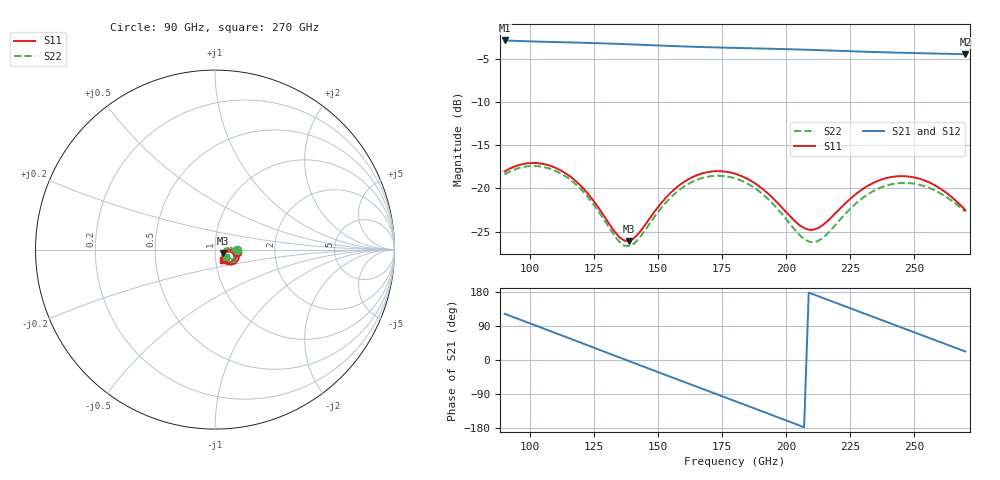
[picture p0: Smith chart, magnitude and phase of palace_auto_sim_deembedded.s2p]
! Created with skrf 1.11.0 (http://scikit-rf.org).
# GHz S DB R 50.0
!freq dBS11 angS11 dBS21 angS21 dBS12 angS12 dBS22 angS22
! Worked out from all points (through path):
!   101 points, 90 GHz to 270 GHz, reference 50 ohm
!   highest |S21| = -2.89 dB at 90 GHz (marker M1); lowest = -4.5 dB at 270 GHz (marker M2)
!   group delay of S21, straight-line fit = 7.09 ps
!   lowest |S11| = -26.1 dB at 138.6 GHz (marker M3), VSWR 1.10, Z = 54.8 - j2.07 ohm
!   |S11| at or under -10 dB: start of sweep to end of sweep
!   |S22| runs from -26.7 to -17.4 dB; largest |S21 - S12| = 7.9e-14
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90  -18.04 -5.9  -2.89 121.9  -2.89 121.9  -18.38 -2.3
97.2  -17.18 -16.8  -2.96 103.5  -2.96 103.5  -17.52 -13.0
104.4  -17.13 -28.5  -3.03 85.2  -3.03 85.2  -17.48 -24.4
111.6  -17.86 -39.7  -3.08 66.7  -3.08 66.7  -18.22 -35.3
120.6  -19.96 -50.5  -3.15 43.6  -3.15 43.6  -20.34 -45.8
129.6  -23.53 -50.1  -3.23 20.3  -3.23 20.3  -23.97 -45.5
135  -25.69 -36.8  -3.29 6.4  -3.29 6.4  -26.22 -32.0
138.6  -26.08 -22.3  -3.33 -2.9  -3.33 -2.9  -26.68 -17.0
151.2  -21.69 1.2  -3.48 -35.1  -3.48 -35.1  -22.26 8.2
165.6  -18.42 -12.7  -3.63 -71.8  -3.63 -71.8  -18.95 -5.3
172.8  -18.00 -23.2  -3.69 -90.1  -3.69 -90.1  -18.53 -15.5
180  -18.30 -33.5  -3.75 -108.4  -3.75 -108.4  -18.83 -25.8
187.2  -19.29 -42.4  -3.80 -126.8  -3.80 -126.8  -19.86 -34.8
196.2  -21.54 -47.9  -3.86 -149.8  -3.86 -149.8  -22.23 -41.0
205.2  -24.25 -38.9  -3.94 -172.8  -3.94 -172.8  -25.37 -32.2
210.6  -24.77 -25.0  -3.99 173.3  -3.99 173.3  -26.23 -16.2
217.8  -23.30 -10.5  -4.06 154.9  -4.06 154.9  -24.70 2.2
226.8  -20.75 -8.8  -4.15 132.0  -4.15 132.0  -21.85 5.7
241.2  -18.67 -23.7  -4.28 95.5  -4.28 95.5  -19.51 -8.1
253.8  -19.05 -40.3  -4.37 63.6  -4.37 63.6  -19.72 -23.4
262.8  -20.56 -49.3  -4.43 40.7  -4.43 40.7  -21.04 -31.4
270  -22.50 -51.1  -4.48 22.3  -4.48 22.3  -22.68 -32.6
